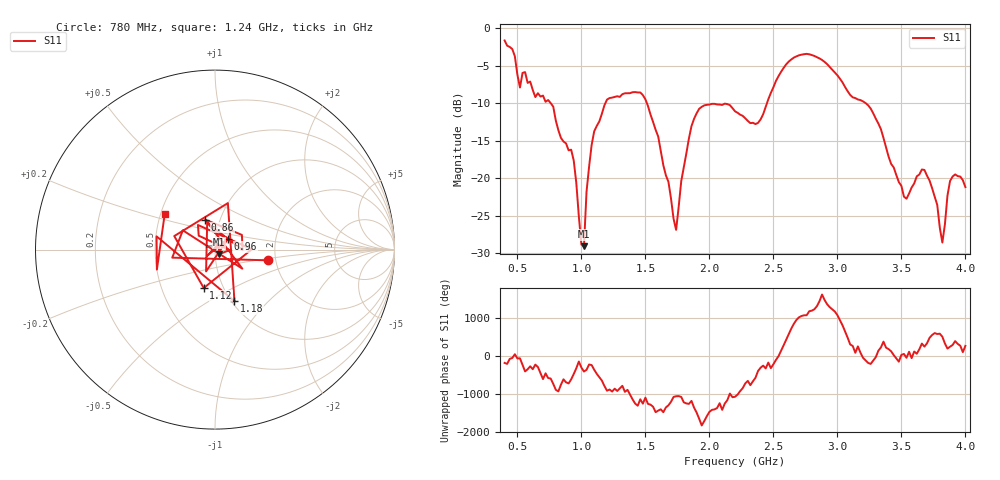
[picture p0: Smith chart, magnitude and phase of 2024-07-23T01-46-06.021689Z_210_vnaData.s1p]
!Created with skrf (http://scikit-rf.org).
# Hz S RI R 50.0
!freq ReS11 ImS11
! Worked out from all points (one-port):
!   181 points, 400 MHz to 4 GHz, reference 50 ohm
!   lowest |S11| = -29.0 dB at 1.02 GHz (marker M1), VSWR 1.07, Z = 52.4 - j2.69 ohm
!   |S11| at or under -10 dB: 760.3 MHz to 1.187 GHz (426.9 MHz wide, 43.8 % of centre); 1.512 GHz to 2.45 GHz (937.9 MHz wide, 47.4 % of centre); 3.221 GHz to end of sweep
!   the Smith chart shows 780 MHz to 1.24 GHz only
!   S11 on the Smith chart (normalised r, x): 780 MHz: 1.81, -0.24; 860 MHz: 0.85, +0.29; 960 MHz: 1.15, +0.14; 1.12 GHz: 0.81, -0.36; 1.18 GHz: 1.03, -0.65; 1.24 GHz: 0.53, +0.24
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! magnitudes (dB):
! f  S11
! 400 MHz  -1.6
! 520 MHz  -7.9
! 560 MHz  -5.9
! 780 MHz  -10.5
! 860 MHz  -15.1
! 960 MHz  -20.6
! 1 GHz  -28.8
! 1.02 GHz  -29.0
! 1.06 GHz  -18.5
! 1.12 GHz  -13.0
! 1.18 GHz  -10.3
! 1.24 GHz  -9.3
! 1.3 GHz  -9.2
! 1.5 GHz  -9.5
! 1.74 GHz  -26.9
! 1.76 GHz  -23.8
! 1.86 GHz  -13.1
! 1.92 GHz  -10.8
! 2.2 GHz  -11.1
! 2.38 GHz  -12.6
! 2.66 GHz  -3.9
! 3.1 GHz  -8.9
! 3.26 GHz  -10.7
! 3.56 GHz  -22.0
! 3.68 GHz  -18.9
! 3.82 GHz  -28.6
! 3.88 GHz  -20.4
! 4 GHz  -21.2
